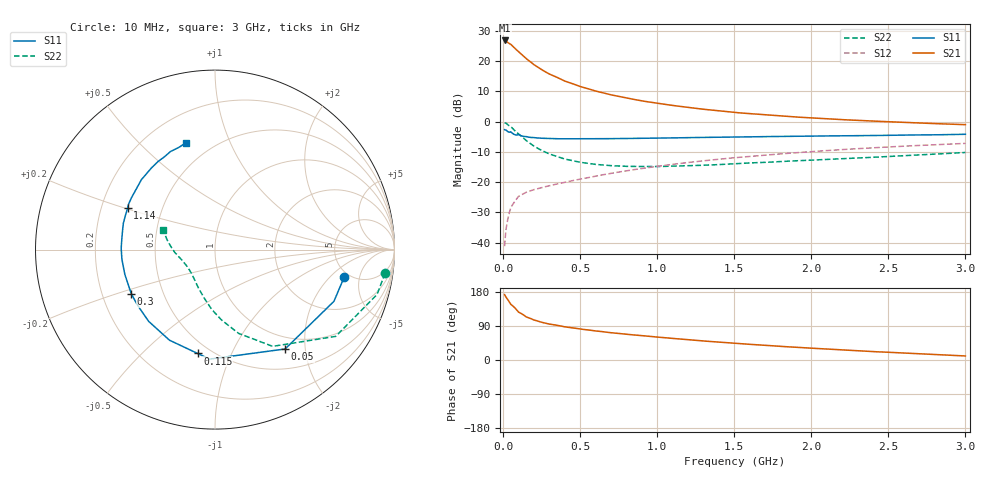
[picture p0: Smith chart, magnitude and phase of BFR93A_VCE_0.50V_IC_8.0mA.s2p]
! Infineon Technologies  Discrete & RF Semiconductors
! BFR93A
! VCE = 0.50 V,  IC =  8.0 mA
! Common Emitter S-Parameters:  Nov 2015
# GHz  S  MA  R  50
!  f  S11  S21  S12  S22
! GHz  MAG  ANG  MAG  ANG  MAG  ANG  MAG  ANG
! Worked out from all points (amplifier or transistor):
!   180 points, 10 MHz to 3 GHz, reference 50 ohm
!   highest |S21| = 26.8 dB at 10 MHz (marker M1)
!   |S21| within 3 dB of that: start of sweep to 85.13 MHz
!   unconditionally stable (mu >= 1): 531.3 MHz to end of sweep
!   at 160 MHz: K = 0.48, MSG = 21.8 dB, |S12| = -23.2 dB
!   at 1.22 GHz: K = 1.15, MAG = 6.6 dB, |S12| = -13.4 dB
!   at 3 GHz: K = 1.05, MAG = 1.7 dB, |S12| = -7.2 dB
!   S11 on the Smith chart (normalised r, x): 10 MHz: 4.50, -3.01; 50 MHz: 0.80, -1.63; 115 MHz: 0.43, -0.75; 300 MHz: 0.33, -0.22; 1.14 GHz: 0.31, +0.21; 3 GHz: 0.36, +0.70
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0.01  0.7361 -12.0  21.78 172.5  0.0088 84.4  0.9567 -7.9
0.02  0.7226 -23.5  21.25 165.3  0.0173 78.0  0.9367 -15.5
0.05  0.6776 -54.8  18.81 147.0  0.038 64.7  0.8283 -35.7
0.1  0.6109 -92.8  14.31 126.5  0.0581 51.5  0.6276 -59.2
0.115  0.5866 -99.5  13.23 123.4  0.061 49.7  0.5812 -62.9
0.15  0.5649 -116.7  10.92 113.7  0.0681 46.1  0.4853 -74.2
0.2  0.5445 -132.8  8.7 105.6  0.0753 44.4  0.3939 -84.7
0.24  0.5323 -142.0  7.463 100.8  0.0802 44.3  0.3452 -91.2
0.26  0.5298 -145.9  6.946 98.6  0.0826 44.5  0.3252 -94.3
0.3  0.5272 -152.2  6.089 94.8  0.0874 45.2  0.2924 -99.7
0.4  0.5209 -164.7  4.661 87.5  0.0995 47.4  0.2413 -111.1
0.5  0.5214 -173.9  3.789 81.7  0.1123 49.1  0.2132 -119.7
0.52  0.5211 -175.3  3.668 80.8  0.115 49.4  0.2096 -121.1
0.6  0.5227 179.3  3.194 76.7  0.1258 50.5  0.1966 -127.4
0.7  0.5226 173.5  2.763 72.0  0.1398 51.4  0.1874 -133.9
0.88  0.5299 164.9  2.243 65.0  0.1654 52.1  0.1816 -144.0
1.02  0.5344 158.8  1.971 59.8  0.1854 51.7  0.1816 -150.0
1.14  0.5396 154.4  1.792 55.7  0.2026 51.2  0.1851 -154.8
1.52  0.5548 141.7  1.401 43.7  0.2556 48.3  0.2026 -167.3
2.02  0.5764 128.0  1.14 30.8  0.322 42.9  0.2323 -179.2
2.52  0.5947 116.2  0.988 20.0  0.3835 36.3  0.2666 170.0
3  0.617 105.0  0.889 10.7  0.4366 29.5  0.3091 159.3
